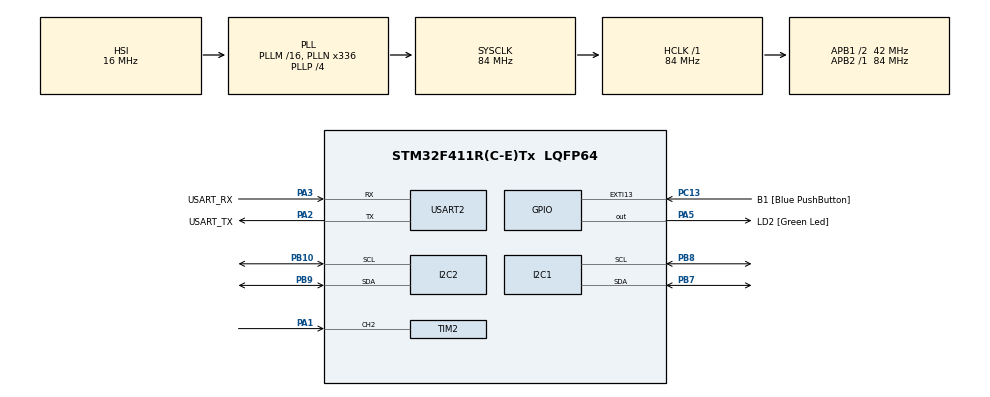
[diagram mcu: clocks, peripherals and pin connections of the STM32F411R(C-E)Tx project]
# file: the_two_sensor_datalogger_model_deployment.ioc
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Mcu.Family=STM32F4
Mcu.Name=STM32F411R(C-E)Tx
Mcu.Package=LQFP64
NVIC.PriorityGroup=NVIC_PRIORITYGROUP_0
PA1.Signal=S_TIM2_CH2
PA13.GPIO_Label=TMS
PA13.Mode=Serial_Wire
PA13.Signal=SYS_JTMS-SWDIO
PA14.GPIO_Label=TCK
PA14.Mode=Serial_Wire
PA14.Signal=SYS_JTCK-SWCLK
PA2.GPIO_Label=USART_TX
PA2.Mode=Asynchronous
PA2.Signal=USART2_TX
PA3.GPIO_Label=USART_RX
PA3.Mode=Asynchronous
PA3.Signal=USART2_RX
PA5.GPIO_Label=LD2 [Green Led]
PA5.Signal=GPIO_Output
PB10.Mode=I2C
PB10.Signal=I2C2_SCL
PB3.GPIO_Label=SWO
PB3.Signal=SYS_JTDO-SWO
PB7.Mode=I2C
PB7.Signal=I2C1_SDA
PB8.Mode=I2C
PB8.Signal=I2C1_SCL
PB9.Mode=I2C
PB9.Signal=I2C2_SDA
PC13-ANTI_TAMP.GPIO_Label=B1 [Blue PushButton]
PC13-ANTI_TAMP.GPIO_ModeDefaultEXTI=GPIO_MODE_IT_FALLING
PC13-ANTI_TAMP.Signal=GPXTI13
PC14-OSC32_IN.Mode=LSE-External-Oscillator
PC14-OSC32_IN.Signal=RCC_OSC32_IN
PC15-OSC32_OUT.Mode=LSE-External-Oscillator
PC15-OSC32_OUT.Signal=RCC_OSC32_OUT
PH0\ -\ OSC_IN.Mode=HSE-External-Clock-Source
PH0\ -\ OSC_IN.Signal=RCC_OSC_IN
PH1\ -\ OSC_OUT.Mode=HSE-External-Clock-Source
PH1\ -\ OSC_OUT.Signal=RCC_OSC_OUT
ProjectManager.HeapSize=0x200
ProjectManager.StackSize=0x400
ProjectManager.TargetToolchain=STM32CubeIDE
RCC.48MHZClocksFreq_Value=84000000
RCC.AHBFreq_Value=84000000
RCC.APB1CLKDivider=RCC_HCLK_DIV2
RCC.APB1Freq_Value=42000000
RCC.APB1TimFreq_Value=84000000
RCC.APB2Freq_Value=84000000
RCC.APB2TimFreq_Value=84000000
RCC.CortexFreq_Value=84000000
RCC.FLatency-AdvancedSettings=FLASH_LATENCY_2
RCC.HCLKFreq_Value=84000000
RCC.HSE_VALUE=8000000
RCC.HSI_VALUE=16000000
RCC.PLLN=336
RCC.PLLP=RCC_PLLP_DIV4
RCC.SYSCLKFreq_VALUE=84000000
RCC.SYSCLKSource=RCC_SYSCLKSOURCE_PLLCLK
RCC.VCOOutputFreq_Value=336000000
SH.S_TIM2_CH2.0=TIM2_CH2,Input_Capture2_from_TI2
TIM2.Channel-Input_Capture2_from_TI2=TIM_CHANNEL_2
USART2.VirtualMode=VM_ASYNC
board=NUCLEO-F411RE

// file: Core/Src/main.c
/* USER CODE BEGIN Header */
/**
  ******************************************************************************
  * @file           : main.c
  * @brief          : Main program body
  ******************************************************************************
  * @attention
  *
  * Copyright (c) 2024 STMicroelectronics.
  * All rights reserved.
  *
  * This software is licensed under terms that can be found in the LICENSE file
  * in the root directory of this software component.
  * If no LICENSE file comes with this software, it is provided AS-IS.
  *
  ******************************************************************************
  */
/* USER CODE END Header */
#include "main.h"

/* USER CODE BEGIN Includes */
#include "stdio.h"
#include "string.h"
#include "MLX90614.h"
#include "MAX30102.h"
#include "NanoEdgeAI.h"
#include "knowledge.h"
/* USER CODE END Includes */

/* USER CODE BEGIN PD */
#define DATA_INPUT_USER 1
#define AXIS 3
#define CONFIRMATION_NB  (uint32_t)(3)
/* USER CODE END PD */

I2C_HandleTypeDef hi2c1;
I2C_HandleTypeDef hi2c2;

TIM_HandleTypeDef htim2;

UART_HandleTypeDef huart2;

/* USER CODE BEGIN PV */
float Temp_amb = 0;        // for temp sensor i2c1
float Temp_obj1 = 0; // for temp sensor i2c1
uint32_t hr_rate, spo2_rate; // for pulse-oximeter sensor i2c2
float data_buffer[DATA_INPUT_USER * AXIS] = {0};
float pulse;
float heart;
float output_class_buffer[CLASS_NUMBER]; // Buffer of class probabilities
const char *id2class[CLASS_NUMBER + 1] = { // Buffer for mapping class id to class name
	"unknown",
	"Bardycardia",
	"complete_healthy",
	"fever",
	"hypothermia",
	"hypoxemia",
	"No_Person_detected",
	"pneumonia",
	"Sepsis",
	"sleepapnea",
	"Tachycardia",
};
/* USER CODE END PV */

void SystemClock_Config(void);
static void MX_GPIO_Init(void);
static void MX_USART2_UART_Init(void);
static void MX_I2C1_Init(void);
static void MX_I2C2_Init(void);
static void MX_TIM2_Init(void);
/* USER CODE BEGIN PFP */
int __io_putchar(int);
void Interference(void);
void fill_data_buffer(void);
/* USER CODE END PFP */

int main(void)
{

  /* MCU Configuration--------------------------------------------------------*/

  /* Reset of all peripherals, Initializes the Flash interface and the Systick. */
  HAL_Init();

  /* USER CODE BEGIN Init */
  enum neai_state error_code = neai_classification_init(knowledge);
  	if (error_code != NEAI_OK) {
  		/* This happens if the knowledge does not correspond to the library or if the library works into a not supported board. */
  		printf("Failed");
  	}
  	else{
  			printf("Completed");
  		}
  /* USER CODE END Init */

  /* Configure the system clock */
  SystemClock_Config();

  /* Initialize all configured peripherals */
  MX_GPIO_Init();
  MX_USART2_UART_Init();
  MX_I2C1_Init();
  MX_I2C2_Init();
  MX_TIM2_Init();
  /* USER CODE BEGIN 2 */
MLX90614_Init();
MAX30102_Init();
  /* USER CODE END 2 */

  /* Infinite loop */
  /* USER CODE BEGIN WHILE */
  while (1)
  {

	  Interference();
    /* USER CODE END WHILE */

  }
}

void SystemClock_Config(void)
{
  RCC_OscInitTypeDef RCC_OscInitStruct = {0};
  RCC_ClkInitTypeDef RCC_ClkInitStruct = {0};

  /** Configure the main internal regulator output voltage
  */
  __HAL_RCC_PWR_CLK_ENABLE();
  __HAL_PWR_VOLTAGESCALING_CONFIG(PWR_REGULATOR_VOLTAGE_SCALE1);

  /** Initializes the RCC Oscillators according to the specified parameters
  * in the RCC_OscInitTypeDef structure.
  */
  RCC_OscInitStruct.OscillatorType = RCC_OSCILLATORTYPE_HSI;
  RCC_OscInitStruct.HSIState = RCC_HSI_ON;
  RCC_OscInitStruct.HSICalibrationValue = RCC_HSICALIBRATION_DEFAULT;
  RCC_OscInitStruct.PLL.PLLState = RCC_PLL_ON;
  RCC_OscInitStruct.PLL.PLLSource = RCC_PLLSOURCE_HSI;
  RCC_OscInitStruct.PLL.PLLM = 16;
  RCC_OscInitStruct.PLL.PLLN = 336;
  RCC_OscInitStruct.PLL.PLLP = RCC_PLLP_DIV4;
  RCC_OscInitStruct.PLL.PLLQ = 4;
  if (HAL_RCC_OscConfig(&RCC_OscInitStruct) != HAL_OK)
  {
    Error_Handler();
  }

  /** Initializes the CPU, AHB and APB buses clocks
  */
  RCC_ClkInitStruct.ClockType = RCC_CLOCKTYPE_HCLK|RCC_CLOCKTYPE_SYSCLK
                              |RCC_CLOCKTYPE_PCLK1|RCC_CLOCKTYPE_PCLK2;
  RCC_ClkInitStruct.SYSCLKSource = RCC_SYSCLKSOURCE_PLLCLK;
  RCC_ClkInitStruct.AHBCLKDivider = RCC_SYSCLK_DIV1;
  RCC_ClkInitStruct.APB1CLKDivider = RCC_HCLK_DIV2;
  RCC_ClkInitStruct.APB2CLKDivider = RCC_HCLK_DIV1;

  if (HAL_RCC_ClockConfig(&RCC_ClkInitStruct, FLASH_LATENCY_2) != HAL_OK)
  {
    Error_Handler();
  }
}

static void MX_I2C1_Init(void)
{

  hi2c1.Instance = I2C1;
  hi2c1.Init.ClockSpeed = 100000;
  hi2c1.Init.DutyCycle = I2C_DUTYCYCLE_2;
  hi2c1.Init.OwnAddress1 = 0;
  hi2c1.Init.AddressingMode = I2C_ADDRESSINGMODE_7BIT;
  hi2c1.Init.DualAddressMode = I2C_DUALADDRESS_DISABLE;
  hi2c1.Init.OwnAddress2 = 0;
  hi2c1.Init.GeneralCallMode = I2C_GENERALCALL_DISABLE;
  hi2c1.Init.NoStretchMode = I2C_NOSTRETCH_DISABLE;
  if (HAL_I2C_Init(&hi2c1) != HAL_OK)
  {
    Error_Handler();
  }

}

static void MX_I2C2_Init(void)
{

  hi2c2.Instance = I2C2;
  hi2c2.Init.ClockSpeed = 100000;
  hi2c2.Init.DutyCycle = I2C_DUTYCYCLE_2;
  hi2c2.Init.OwnAddress1 = 0;
  hi2c2.Init.AddressingMode = I2C_ADDRESSINGMODE_7BIT;
  hi2c2.Init.DualAddressMode = I2C_DUALADDRESS_DISABLE;
  hi2c2.Init.OwnAddress2 = 0;
  hi2c2.Init.GeneralCallMode = I2C_GENERALCALL_DISABLE;
  hi2c2.Init.NoStretchMode = I2C_NOSTRETCH_DISABLE;
  if (HAL_I2C_Init(&hi2c2) != HAL_OK)
  {
    Error_Handler();
  }

}

static void MX_TIM2_Init(void)
{

  TIM_MasterConfigTypeDef sMasterConfig = {0};
  TIM_IC_InitTypeDef sConfigIC = {0};

  htim2.Instance = TIM2;
  htim2.Init.Prescaler = 0;
  htim2.Init.CounterMode = TIM_COUNTERMODE_UP;
  htim2.Init.Period = 4294967295;
  htim2.Init.ClockDivision = TIM_CLOCKDIVISION_DIV1;
  htim2.Init.AutoReloadPreload = TIM_AUTORELOAD_PRELOAD_DISABLE;
  if (HAL_TIM_IC_Init(&htim2) != HAL_OK)
  {
    Error_Handler();
  }
  sMasterConfig.MasterOutputTrigger = TIM_TRGO_RESET;
  sMasterConfig.MasterSlaveMode = TIM_MASTERSLAVEMODE_DISABLE;
  if (HAL_TIMEx_MasterConfigSynchronization(&htim2, &sMasterConfig) != HAL_OK)
  {
    Error_Handler();
  }
  sConfigIC.ICPolarity = TIM_INPUTCHANNELPOLARITY_RISING;
  sConfigIC.ICSelection = TIM_ICSELECTION_DIRECTTI;
  sConfigIC.ICPrescaler = TIM_ICPSC_DIV1;
  sConfigIC.ICFilter = 0;
  if (HAL_TIM_IC_ConfigChannel(&htim2, &sConfigIC, TIM_CHANNEL_2) != HAL_OK)
  {
    Error_Handler();
  }

}

static void MX_USART2_UART_Init(void)
{

  huart2.Instance = USART2;
  huart2.Init.BaudRate = 115200;
  huart2.Init.WordLength = UART_WORDLENGTH_8B;
  huart2.Init.StopBits = UART_STOPBITS_1;
  huart2.Init.Parity = UART_PARITY_NONE;
  huart2.Init.Mode = UART_MODE_TX_RX;
  huart2.Init.HwFlowCtl = UART_HWCONTROL_NONE;
  huart2.Init.OverSampling = UART_OVERSAMPLING_16;
  if (HAL_UART_Init(&huart2) != HAL_OK)
  {
    Error_Handler();
  }

}

static void MX_GPIO_Init(void)
{
  GPIO_InitTypeDef GPIO_InitStruct = {0};

  /* GPIO Ports Clock Enable */
  __HAL_RCC_GPIOC_CLK_ENABLE();
  __HAL_RCC_GPIOH_CLK_ENABLE();
  __HAL_RCC_GPIOA_CLK_ENABLE();
  __HAL_RCC_GPIOB_CLK_ENABLE();

  /*Configure GPIO pin Output Level */
  HAL_GPIO_WritePin(LD2_GPIO_Port, LD2_Pin, GPIO_PIN_RESET);

  /*Configure GPIO pin : B1_Pin */
  GPIO_InitStruct.Pin = B1_Pin;
  GPIO_InitStruct.Mode = GPIO_MODE_IT_FALLING;
  GPIO_InitStruct.Pull = GPIO_NOPULL;
  HAL_GPIO_Init(B1_GPIO_Port, &GPIO_InitStruct);

  /*Configure GPIO pin : LD2_Pin */
  GPIO_InitStruct.Pin = LD2_Pin;
  GPIO_InitStruct.Mode = GPIO_MODE_OUTPUT_PP;
  GPIO_InitStruct.Pull = GPIO_NOPULL;
  GPIO_InitStruct.Speed = GPIO_SPEED_FREQ_LOW;
  HAL_GPIO_Init(LD2_GPIO_Port, &GPIO_InitStruct);

}

/* USER CODE BEGIN 4 */
int __io_putchar(int ch){
	HAL_UART_Transmit(&huart2, (uint8_t *)&ch, 1, HAL_MAX_DELAY);
	return ch;
}
void fill_data_buffer(){
	for(int i=0;i<DATA_INPUT_USER;i++){
		Temp_amb = MLX90614_ReadTempAmbient();
		Temp_obj1 = MLX90614_ReadTempObject1();
		pulse = MAX30102_ReadSpO2(spo2_rate);
		heart = MAX30102_ReadHeartRate(hr_rate);
	    data_buffer[AXIS * i] = pulse;
	    data_buffer[AXIS * i + 1] = heart;
	    data_buffer[AXIS * i + 2] = Temp_amb;
	    data_buffer[AXIS * i + 3] = Temp_obj1;

	}
}
void Interference(){
	uint16_t i, id_class_t0, id_class_tn;
	fill_data_buffer();
	neai_classification(data_buffer, output_class_buffer, &id_class_t0);
	for(i=0; i<CONFIRMATION_NB-1; i++){
		fill_data_buffer();
		neai_classification(data_buffer, output_class_buffer, &id_class_tn);
		if(id_class_t0 != id_class_tn){
			break;
		}
		else if(id_class_t0 == id_class_tn){
			printf("Detected Class: ");
			printf(id2class[id_class_t0]);
			printf("\r\n");
		}
		else{
			printf("?");
			printf("\r\n");
		}
	}
//	printf("\r\n");
}
/* USER CODE END 4 */

void Error_Handler(void)
{
  __disable_irq();
  while (1)
  {
  }
}
